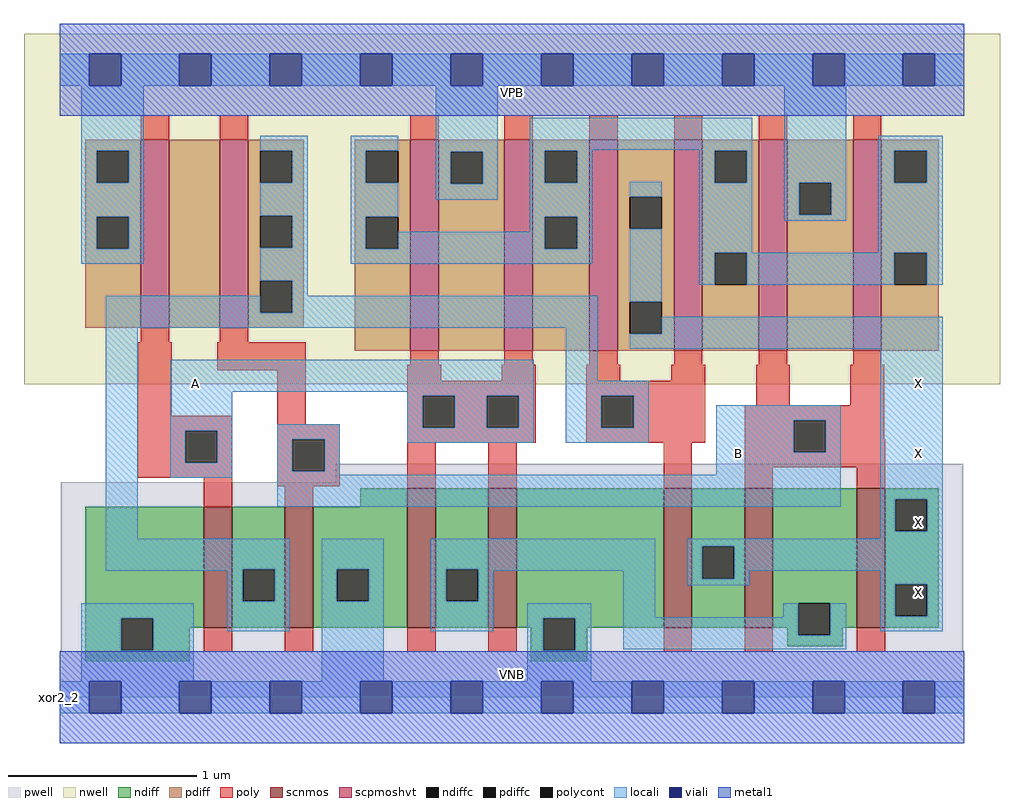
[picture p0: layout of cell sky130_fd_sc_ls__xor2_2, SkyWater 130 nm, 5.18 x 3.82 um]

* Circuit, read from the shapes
.subckt sky130_fd_sc_ls__xor2_2 A B VGND VNB VPB VPWR X
XM1 n1 A VGND VNB sky130_fd_pr__nfet_01v8 w=0.64 l=0.15
XM2 VGND B n1 VNB sky130_fd_pr__nfet_01v8 w=0.64 l=0.15
XM3 n2 A VGND VNB sky130_fd_pr__nfet_01v8 w=0.74 l=0.15 m=2
XM4 X n1 VGND VNB sky130_fd_pr__nfet_01v8 w=0.74 l=0.15
XM5 n2 B X VNB sky130_fd_pr__nfet_01v8 w=0.74 l=0.15 m=2
XM6 n3 A VPWR VPB sky130_fd_pr__pfet_01v8_hvt w=1 l=0.15
XM7 n1 B n3 VPB sky130_fd_pr__pfet_01v8_hvt w=1 l=0.15
XM8 VPWR A n4 VPB sky130_fd_pr__pfet_01v8_hvt w=1.12 l=0.15 m=2
XM9 X n1 n4 VPB sky130_fd_pr__pfet_01v8_hvt w=1.12 l=0.15 m=2
XM10 VPWR B n4 VPB sky130_fd_pr__pfet_01v8_hvt w=1.12 l=0.15 m=2
.ends

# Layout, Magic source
magic
tech sky130A
magscale 1 2
<< nwell >>
rect -38 332 998 704
<< pwell >>
rect 293 228 959 248
rect 1 49 959 228
rect 0 0 960 49
<< scnmos >>
rect 153 74 183 202
rect 239 74 269 202
rect 369 74 399 222
rect 455 74 485 222
rect 641 74 671 222
rect 727 74 757 222
rect 846 74 876 222
<< scpmoshvt >>
rect 86 392 116 592
rect 170 392 200 592
rect 372 368 402 592
rect 472 368 502 592
rect 562 368 592 592
rect 652 368 682 592
rect 742 368 772 592
rect 842 368 872 592
<< ndiff >>
rect 319 202 369 222
rect 27 84 153 202
rect 27 50 65 84
rect 99 74 153 84
rect 183 136 239 202
rect 183 102 194 136
rect 228 102 239 136
rect 183 74 239 102
rect 269 136 369 202
rect 269 102 294 136
rect 328 102 369 136
rect 269 74 369 102
rect 399 136 455 222
rect 399 102 410 136
rect 444 102 455 136
rect 399 74 455 102
rect 485 84 641 222
rect 485 74 513 84
rect 99 50 138 74
rect 27 38 138 50
rect 500 50 513 74
rect 547 74 641 84
rect 671 160 727 222
rect 671 126 682 160
rect 716 126 727 160
rect 671 74 727 126
rect 757 100 846 222
rect 757 74 784 100
rect 547 50 560 74
rect 500 38 560 50
rect 772 66 784 74
rect 818 74 846 100
rect 876 210 933 222
rect 876 176 887 210
rect 921 176 933 210
rect 876 120 933 176
rect 876 86 887 120
rect 921 86 933 120
rect 876 74 933 86
rect 818 66 831 74
rect 772 54 831 66
<< pdiff >>
rect 27 580 86 592
rect 27 546 39 580
rect 73 546 86 580
rect 27 510 86 546
rect 27 476 39 510
rect 73 476 86 510
rect 27 392 86 476
rect 116 392 170 592
rect 200 580 259 592
rect 200 546 213 580
rect 247 546 259 580
rect 200 511 259 546
rect 200 477 213 511
rect 247 477 259 511
rect 200 442 259 477
rect 200 408 213 442
rect 247 408 259 442
rect 200 392 259 408
rect 313 580 372 592
rect 313 546 325 580
rect 359 546 372 580
rect 313 510 372 546
rect 313 476 325 510
rect 359 476 372 510
rect 313 368 372 476
rect 402 579 472 592
rect 402 545 415 579
rect 449 545 472 579
rect 402 368 472 545
rect 502 580 562 592
rect 502 546 515 580
rect 549 546 562 580
rect 502 510 562 546
rect 502 476 515 510
rect 549 476 562 510
rect 502 368 562 476
rect 592 531 652 592
rect 592 497 605 531
rect 639 497 652 531
rect 592 420 652 497
rect 592 386 605 420
rect 639 386 652 420
rect 592 368 652 386
rect 682 580 742 592
rect 682 546 695 580
rect 729 546 742 580
rect 682 472 742 546
rect 682 438 695 472
rect 729 438 742 472
rect 682 368 742 438
rect 772 546 842 592
rect 772 512 785 546
rect 819 512 842 546
rect 772 368 842 512
rect 872 580 933 592
rect 872 546 886 580
rect 920 546 933 580
rect 872 472 933 546
rect 872 438 886 472
rect 920 438 933 472
rect 872 368 933 438
<< ndiffc >>
rect 65 50 99 84
rect 194 102 228 136
rect 294 102 328 136
rect 410 102 444 136
rect 513 50 547 84
rect 682 126 716 160
rect 784 66 818 100
rect 887 176 921 210
rect 887 86 921 120
<< pdiffc >>
rect 39 546 73 580
rect 39 476 73 510
rect 213 546 247 580
rect 213 477 247 511
rect 213 408 247 442
rect 325 546 359 580
rect 325 476 359 510
rect 415 545 449 579
rect 515 546 549 580
rect 515 476 549 510
rect 605 497 639 531
rect 605 386 639 420
rect 695 546 729 580
rect 695 438 729 472
rect 785 512 819 546
rect 886 546 920 580
rect 886 438 920 472
<< poly >>
rect 86 592 116 618
rect 170 592 200 618
rect 372 592 402 618
rect 472 592 502 618
rect 562 592 592 618
rect 652 592 682 618
rect 742 592 772 618
rect 842 592 872 618
rect 86 377 116 392
rect 170 377 200 392
rect 83 299 119 377
rect 167 347 261 377
rect 372 353 402 368
rect 472 353 502 368
rect 562 353 592 368
rect 652 353 682 368
rect 742 353 772 368
rect 842 353 872 368
rect 83 283 183 299
rect 83 249 133 283
rect 167 249 183 283
rect 83 233 183 249
rect 153 202 183 233
rect 231 290 261 347
rect 369 336 405 353
rect 469 336 505 353
rect 369 320 505 336
rect 231 274 297 290
rect 231 240 247 274
rect 281 240 297 274
rect 231 224 297 240
rect 369 286 385 320
rect 419 286 453 320
rect 487 286 505 320
rect 369 270 505 286
rect 559 336 595 353
rect 649 336 685 353
rect 559 320 685 336
rect 559 286 575 320
rect 609 286 685 320
rect 739 310 775 353
rect 839 310 875 353
rect 559 270 685 286
rect 727 294 875 310
rect 239 202 269 224
rect 369 222 399 270
rect 455 222 485 270
rect 641 222 671 270
rect 727 260 779 294
rect 813 274 875 294
rect 813 260 876 274
rect 727 244 876 260
rect 727 222 757 244
rect 846 222 876 244
rect 153 48 183 74
rect 239 48 269 74
rect 369 48 399 74
rect 455 48 485 74
rect 641 48 671 74
rect 727 48 757 74
rect 846 48 876 74
<< polycont >>
rect 133 249 167 283
rect 247 240 281 274
rect 385 286 419 320
rect 453 286 487 320
rect 575 286 609 320
rect 779 260 813 294
<< locali >>
rect 0 649 31 683
rect 65 649 127 683
rect 161 649 223 683
rect 257 649 319 683
rect 353 649 415 683
rect 449 649 511 683
rect 545 649 607 683
rect 641 649 703 683
rect 737 649 799 683
rect 833 649 895 683
rect 929 649 960 683
rect 23 580 89 649
rect 23 546 39 580
rect 73 546 89 580
rect 23 510 89 546
rect 23 476 39 510
rect 73 476 89 510
rect 23 460 89 476
rect 213 580 263 596
rect 247 546 263 580
rect 213 511 263 546
rect 247 477 263 511
rect 213 442 263 477
rect 309 580 359 596
rect 309 546 325 580
rect 309 510 359 546
rect 399 579 465 649
rect 399 545 415 579
rect 449 545 465 579
rect 399 528 465 545
rect 499 581 735 615
rect 499 580 565 581
rect 499 546 515 580
rect 549 546 565 580
rect 679 580 735 581
rect 309 476 325 510
rect 499 510 565 546
rect 499 494 515 510
rect 359 476 515 494
rect 549 476 565 510
rect 309 460 565 476
rect 605 531 639 547
rect 49 408 213 426
rect 247 426 263 442
rect 247 408 571 426
rect 49 392 571 408
rect 49 168 83 392
rect 117 324 503 358
rect 117 283 183 324
rect 369 320 503 324
rect 117 249 133 283
rect 167 249 183 283
rect 117 233 183 249
rect 231 274 297 290
rect 231 240 247 274
rect 281 240 297 274
rect 369 286 385 320
rect 419 286 453 320
rect 487 286 503 320
rect 369 270 503 286
rect 537 336 571 392
rect 605 420 639 497
rect 679 546 695 580
rect 729 546 735 580
rect 679 472 735 546
rect 769 546 835 649
rect 769 512 785 546
rect 819 512 835 546
rect 769 506 835 512
rect 869 580 937 596
rect 869 546 886 580
rect 920 546 937 580
rect 869 472 937 546
rect 679 438 695 472
rect 729 438 886 472
rect 920 438 937 472
rect 639 386 937 404
rect 605 370 937 386
rect 537 320 625 336
rect 537 286 575 320
rect 609 286 625 320
rect 537 270 625 286
rect 697 294 829 310
rect 231 236 297 240
rect 697 260 779 294
rect 813 260 829 294
rect 697 236 829 260
rect 231 202 829 236
rect 871 210 937 370
rect 871 176 887 210
rect 921 176 937 210
rect 871 168 937 176
rect 49 136 244 168
rect 49 134 194 136
rect 178 102 194 134
rect 228 102 244 136
rect 23 84 142 100
rect 23 50 65 84
rect 99 50 142 84
rect 178 70 244 102
rect 278 136 344 168
rect 278 102 294 136
rect 328 102 344 136
rect 23 17 142 50
rect 278 17 344 102
rect 394 136 632 168
rect 394 102 410 136
rect 444 134 632 136
rect 444 102 460 134
rect 394 70 460 102
rect 496 84 564 100
rect 496 50 513 84
rect 547 50 564 84
rect 598 85 632 134
rect 666 160 937 168
rect 666 126 682 160
rect 716 134 937 160
rect 716 126 732 134
rect 666 119 732 126
rect 871 120 937 134
rect 768 85 784 100
rect 598 66 784 85
rect 818 66 835 100
rect 871 86 887 120
rect 921 86 937 120
rect 871 70 937 86
rect 598 51 835 66
rect 496 17 564 50
rect 0 -17 31 17
rect 65 -17 127 17
rect 161 -17 223 17
rect 257 -17 319 17
rect 353 -17 415 17
rect 449 -17 511 17
rect 545 -17 607 17
rect 641 -17 703 17
rect 737 -17 799 17
rect 833 -17 895 17
rect 929 -17 960 17
<< viali >>
rect 31 649 65 683
rect 127 649 161 683
rect 223 649 257 683
rect 319 649 353 683
rect 415 649 449 683
rect 511 649 545 683
rect 607 649 641 683
rect 703 649 737 683
rect 799 649 833 683
rect 895 649 929 683
rect 31 -17 65 17
rect 127 -17 161 17
rect 223 -17 257 17
rect 319 -17 353 17
rect 415 -17 449 17
rect 511 -17 545 17
rect 607 -17 641 17
rect 703 -17 737 17
rect 799 -17 833 17
rect 895 -17 929 17
<< metal1 >>
rect 0 683 960 715
rect 0 649 31 683
rect 65 649 127 683
rect 161 649 223 683
rect 257 649 319 683
rect 353 649 415 683
rect 449 649 511 683
rect 545 649 607 683
rect 641 649 703 683
rect 737 649 799 683
rect 833 649 895 683
rect 929 649 960 683
rect 0 617 960 649
rect 0 17 960 49
rect 0 -17 31 17
rect 65 -17 127 17
rect 161 -17 223 17
rect 257 -17 319 17
rect 353 -17 415 17
rect 449 -17 511 17
rect 545 -17 607 17
rect 641 -17 703 17
rect 737 -17 799 17
rect 833 -17 895 17
rect 929 -17 960 17
rect 0 -49 960 -17
<< labels >>
rlabel comment s 0 0 0 0 4 xor2_2
flabel pwell s 0 0 960 49 0 FreeSans 200 0 0 0 VNB
port 4 nsew ground bidirectional
flabel nwell s 0 617 960 666 0 FreeSans 200 0 0 0 VPB
port 5 nsew power bidirectional
flabel metal1 s 0 617 960 666 0 FreeSans 340 0 0 0 VPWR
port 6 nsew power bidirectional abutment
flabel metal1 s 0 0 960 49 0 FreeSans 340 0 0 0 VGND
port 3 nsew ground bidirectional abutment
flabel locali s 127 316 161 350 0 FreeSans 340 0 0 0 A
port 1 nsew signal input
flabel locali s 703 242 737 276 0 FreeSans 340 0 0 0 B
port 2 nsew signal input
flabel locali s 895 94 929 128 0 FreeSans 340 0 0 0 X
port 7 nsew signal output
flabel locali s 895 168 929 202 0 FreeSans 340 0 0 0 X
port 7 nsew signal output
flabel locali s 895 242 929 276 0 FreeSans 340 0 0 0 X
port 7 nsew signal output
flabel locali s 895 316 929 350 0 FreeSans 340 0 0 0 X
port 7 nsew signal output
<< properties >>
string LEFsite unit
string LEFclass CORE
string FIXED_BBOX 0 0 960 666
string GDS_FILE $PDKPATH/libs.ref/sky130_fd_sc_ls/gds/sky130_fd_sc_ls.gds
string LEFsymmetry X Y
string GDS_END 1378974
string GDS_START 1371278
<< end >>
